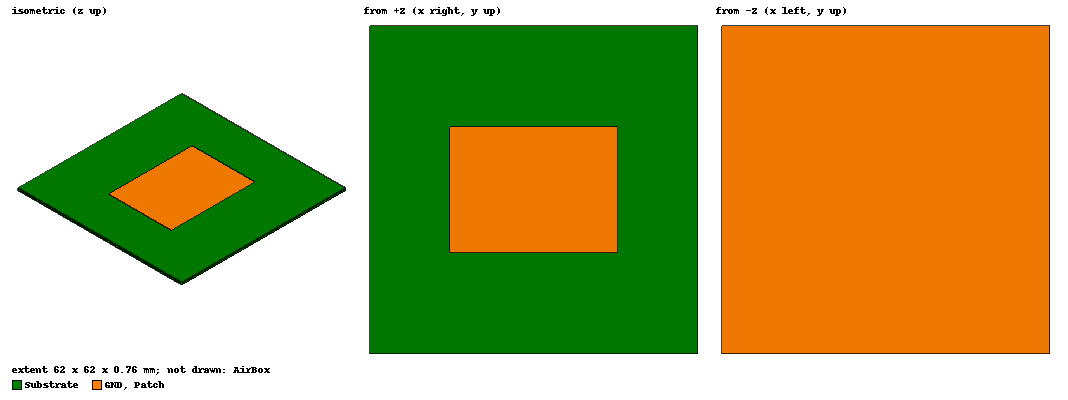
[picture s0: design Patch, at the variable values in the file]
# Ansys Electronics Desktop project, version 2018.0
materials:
  vacuum: permittivity=1
  Rogers RO3003 (tm): permittivity=3 dielectric_loss_tangent=0.0013

design Patch (HFSS, DrivenModal, model units mm)
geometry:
  Patch = rectangle(corner=(-15.83mm, -11.875mm, 0mm), x_size=31.66mm, y_size=23.75mm)
  Substrate [Rogers RO3003 (tm)] = box(corner=(-31mm, -31mm, 0mm), size=(62mm, 62mm, -0.76mm))
  GND = rectangle(corner=(-31mm, -31mm, -0.76mm), x_size=62mm, y_size=62mm)
  Port = rectangle(corner=(-0.375mm, 11.875mm, -0.76mm), z_size=0.76mm, x_size=0.75mm)
  AirBox [vacuum] = box(corner=(-120.552239mm, -120.552239mm, -120.552239mm), size=(241.104478mm, 241.104478mm, 241.104478mm))
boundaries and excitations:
  PECPatchBoundary: Perfect E Objects=Patch
  PECGNDBoundary: Perfect E Objects=GND
  RadiationBox: Radiation Objects=AirBox
  Port1: Lumped Port Objects=Port Modes{Mode1{IntLine{middle of Port.edge(z at corner) -> middle of Port.edge(z opposite corner)} CharImp=Zpi}} Impedance=50ohm
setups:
  Setup1: HfssDriven Frequency=4GHz MaxDeltaS=0.02 MaximumPasses=25 MinimumPasses=1 MinimumConvergedPasses=1 PercentRefinement=20 BasisOrder=1 PortAccuracy=2
    sweep Sweep1: 3GHz to 4GHz, 401 points; Type=Interpolating InterpTolerance=0.5 InterpMaxSolns=101 InterpUsePortImped=false PassivityErrorTolerance=0.0001
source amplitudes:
  Port1:1: 1W 0deg
